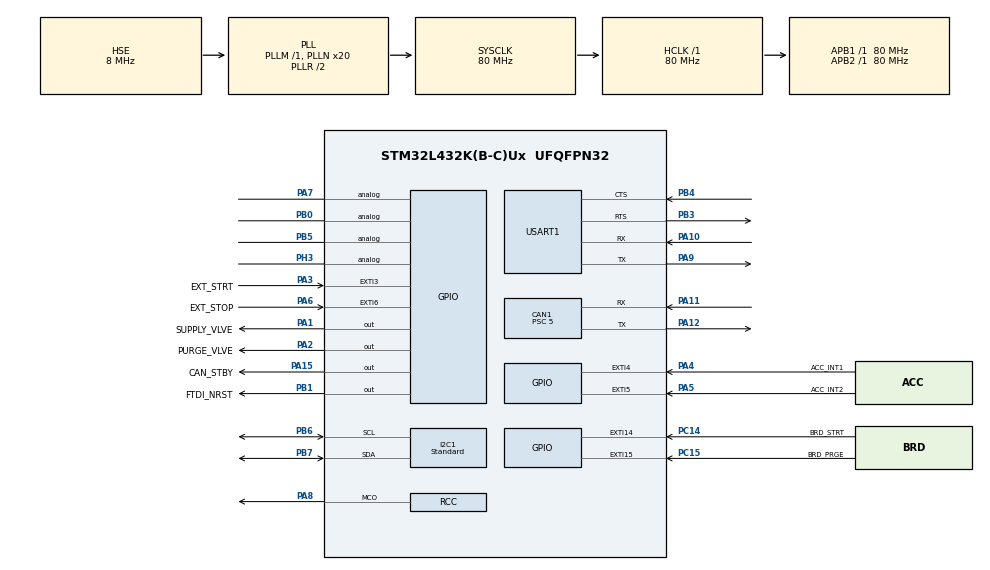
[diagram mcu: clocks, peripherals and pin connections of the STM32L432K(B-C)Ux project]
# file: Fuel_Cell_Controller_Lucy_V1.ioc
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CAN1.BS1=CAN_BS1_11TQ
CAN1.BS2=CAN_BS2_4TQ
CAN1.CalculateBaudRate=1000000
CAN1.CalculateTimeBit=1000
CAN1.CalculateTimeQuantum=62.5
CAN1.Mode=CAN_MODE_LOOPBACK
CAN1.Prescaler=5
Dma.Request0=USART1_RX
Dma.Request1=USART1_TX
Dma.USART1_RX.0.Direction=DMA_PERIPH_TO_MEMORY
Dma.USART1_RX.0.Instance=DMA1_Channel5
Dma.USART1_RX.0.MemDataAlignment=DMA_MDATAALIGN_BYTE
Dma.USART1_RX.0.MemInc=DMA_MINC_ENABLE
Dma.USART1_RX.0.Mode=DMA_CIRCULAR
Dma.USART1_RX.0.PeriphDataAlignment=DMA_PDATAALIGN_BYTE
Dma.USART1_RX.0.PeriphInc=DMA_PINC_DISABLE
Dma.USART1_RX.0.Priority=DMA_PRIORITY_LOW
Dma.USART1_TX.1.Direction=DMA_MEMORY_TO_PERIPH
Dma.USART1_TX.1.Instance=DMA1_Channel4
Dma.USART1_TX.1.MemDataAlignment=DMA_MDATAALIGN_BYTE
Dma.USART1_TX.1.MemInc=DMA_MINC_ENABLE
Dma.USART1_TX.1.Mode=DMA_NORMAL
Dma.USART1_TX.1.PeriphDataAlignment=DMA_PDATAALIGN_BYTE
Dma.USART1_TX.1.PeriphInc=DMA_PINC_DISABLE
Dma.USART1_TX.1.Priority=DMA_PRIORITY_LOW
FREERTOS.BinarySemaphores01=canMsgOkSem,Dynamic,NULL
FREERTOS.Queues01=canRxQueue,16,uint32_t,0,Dynamic,NULL,NULL
FREERTOS.Tasks01=CanTask,25,128,StartCanTask,Default,NULL,Static,CanTaskBuffer,CanTaskControlBlock;I2cTask,26,128,StartI2cTask,Default,NULL,Static,I2cTaskBuffer,I2cTaskControlBlock;FuelCellTask,27,128,StartFuelCellTask,Default,NULL,Static,FuelCellTaskBuffer,FuelCellTaskControlBlock
FREERTOS.configENABLE_FPU=1
FREERTOS.configUSE_NEWLIB_REENTRANT=1
I2C1.I2C_Speed_Mode=I2C_Standard
I2C1.Timing=0x10909CEC
Mcu.Family=STM32L4
Mcu.Name=STM32L432K(B-C)Ux
Mcu.Package=UFQFPN32
NVIC.CAN1_RX0_IRQn=true\:5\:0\:false\:false\:true\:true\:true\:true\:true
NVIC.CAN1_RX1_IRQn=true\:5\:0\:false\:false\:true\:true\:true\:true\:true
NVIC.CAN1_TX_IRQn=true\:5\:0\:false\:false\:true\:true\:true\:true\:true
NVIC.DMA1_Channel4_IRQn=true\:5\:0\:false\:false\:true\:true\:false\:true\:true
NVIC.DMA1_Channel5_IRQn=true\:5\:0\:false\:false\:true\:true\:false\:true\:true
NVIC.EXTI15_10_IRQn=true\:5\:0\:false\:false\:true\:true\:true\:true\:true
NVIC.EXTI3_IRQn=true\:5\:0\:false\:false\:true\:true\:true\:true\:true
NVIC.EXTI4_IRQn=true\:5\:0\:false\:false\:true\:true\:true\:true\:true
NVIC.EXTI9_5_IRQn=true\:5\:0\:false\:false\:true\:true\:true\:true\:true
NVIC.PriorityGroup=NVIC_PRIORITYGROUP_4
NVIC.TIM1_UP_TIM16_IRQn=true\:5\:0\:false\:false\:true\:false\:false\:true\:true
NVIC.TimeBase=TIM1_UP_TIM16_IRQn
NVIC.TimeBaseIP=TIM1
NVIC.USART1_IRQn=true\:5\:0\:false\:false\:true\:true\:true\:true\:true
PA0.Mode=HSE-External-Clock-Source-for-LittleOrca
PA0.Signal=RCC_CK_IN
PA1.GPIO_Label=SUPPLY_VLVE
PA1.GPIO_PuPd=GPIO_PULLDOWN
PA1.PinState=GPIO_PIN_RESET
PA1.Signal=GPIO_Output
PA10.Mode=Asynchronous
PA10.Signal=USART1_RX
PA11.GPIO_PuPd=GPIO_PULLUP
PA11.Mode=CAN_Activate
PA11.Signal=CAN1_RX
PA12.Mode=CAN_Activate
PA12.Signal=CAN1_TX
PA13\ (JTMS-SWDIO).Mode=Serial_Wire
PA13\ (JTMS-SWDIO).Signal=SYS_JTMS-SWDIO
PA14\ (JTCK-SWCLK).Mode=Serial_Wire
PA14\ (JTCK-SWCLK).Signal=SYS_JTCK-SWCLK
PA15\ (JTDI).GPIO_Label=CAN_STBY
PA15\ (JTDI).GPIO_PuPd=GPIO_PULLDOWN
PA15\ (JTDI).Signal=GPIO_Output
PA2.GPIO_Label=PURGE_VLVE
PA2.GPIO_PuPd=GPIO_PULLDOWN
PA2.Signal=GPIO_Output
PA3.GPIO_Label=EXT_STRT
PA3.GPIO_ModeDefaultEXTI=GPIO_MODE_IT_FALLING
PA3.GPIO_PuPd=GPIO_PULLUP
PA3.Signal=GPXTI3
PA4.GPIO_Label=ACC_INT1
PA4.GPIO_PuPd=GPIO_PULLDOWN
PA4.Signal=GPXTI4
PA5.GPIO_Label=ACC_INT2
PA5.GPIO_PuPd=GPIO_PULLDOWN
PA5.Signal=GPXTI5
PA6.GPIO_Label=EXT_STOP
PA6.GPIO_ModeDefaultEXTI=GPIO_MODE_IT_FALLING
PA6.GPIO_PuPd=GPIO_PULLUP
PA6.Signal=GPXTI6
PA7.Signal=GPIO_Analog
PA8.Mode=Clock-out
PA8.Signal=RCC_MCO
PA9.Mode=Asynchronous
PA9.Signal=USART1_TX
PB0.Signal=GPIO_Analog
PB1.GPIO_Label=FTDI_NRST
PB1.GPIO_PuPd=GPIO_PULLUP
PB1.Signal=GPIO_Output
PB3\ (JTDO-TRACESWO).Mode=CTS_RTS
PB3\ (JTDO-TRACESWO).Signal=USART1_RTS
PB4\ (NJTRST).Mode=CTS_RTS
PB4\ (NJTRST).Signal=USART1_CTS
PB5.Signal=GPIO_Analog
PB6.Mode=I2C
PB6.Signal=I2C1_SCL
PB7.Mode=I2C
PB7.Signal=I2C1_SDA
PC14-OSC32_IN\ (PC14).GPIO_Label=BRD_STRT
PC14-OSC32_IN\ (PC14).GPIO_ModeDefaultEXTI=GPIO_MODE_IT_FALLING
PC14-OSC32_IN\ (PC14).GPIO_PuPd=GPIO_PULLUP
PC14-OSC32_IN\ (PC14).Signal=GPXTI14
PC15-OSC32_OUT\ (PC15).GPIO_Label=BRD_PRGE
PC15-OSC32_OUT\ (PC15).GPIO_ModeDefaultEXTI=GPIO_MODE_IT_FALLING
PC15-OSC32_OUT\ (PC15).GPIO_PuPd=GPIO_PULLUP
PC15-OSC32_OUT\ (PC15).Signal=GPXTI15
PH3-BOOT0.Signal=GPIO_Analog
ProjectManager.HeapSize=0x200
ProjectManager.StackSize=0x400
ProjectManager.TargetToolchain=Makefile
RCC.ADCFreq_Value=32000000
RCC.AHBFreq_Value=80000000
RCC.APB1Freq_Value=80000000
RCC.APB1TimFreq_Value=80000000
RCC.APB2Freq_Value=80000000
RCC.APB2TimFreq_Value=80000000
RCC.CortexFreq_Value=80000000
RCC.HCLKFreq_Value=80000000
RCC.HSE_VALUE=8000000
RCC.HSI48_VALUE=48000000
RCC.HSI_VALUE=16000000
RCC.LSE_VALUE=32768
RCC.MSI_VALUE=4000000
RCC.PLLN=20
RCC.PLLSourceVirtual=RCC_PLLSOURCE_HSE
RCC.RCC_MCO1Source=RCC_MCO1SOURCE_HSE
RCC.RCC_MCODiv=RCC_MCODIV_8
RCC.SYSCLKFreq_VALUE=80000000
RCC.SYSCLKSource=RCC_SYSCLKSOURCE_PLLCLK
RCC.USBFreq_Value=32000000
RCC.VCOOutputFreq_Value=160000000
USART1.VirtualMode-Asynchronous=VM_ASYNC
VP_FREERTOS_VS_CMSIS_V2.Mode=CMSIS_V2
VP_SYS_VS_tim1.Mode=TIM1
board=custom

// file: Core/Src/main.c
/* USER CODE BEGIN Header */
/**
 ******************************************************************************
 * @file           : main.c
 * @brief          : Main program body
 ******************************************************************************
 * @attention
 *
 * Copyright (c) 2023 STMicroelectronics.
 * All rights reserved.
 *
 * This software is licensed under terms that can be found in the LICENSE file
 * in the root directory of this software component.
 * If no LICENSE file comes with this software, it is provided AS-IS.
 *
 ******************************************************************************
 */
/* USER CODE END Header */
#include "main.h"
#include "cmsis_os.h"

/* USER CODE BEGIN Includes */
#include "ADS1115.h"
#include "canid.h"
#include "cmsis_os2.h"
#include "stm32l4xx_hal.h"
#include "stm32l4xx_hal_can.h"
#include "stm32l4xx_hal_def.h"
#include "stm32l4xx_hal_gpio.h"
#include <math.h>
#include <stdint.h>
#include <stdio.h>
#include <string.h>
/* USER CODE END Includes */

typedef StaticTask_t osStaticThreadDef_t;
/* USER CODE BEGIN PTD */
#define ALL_RELAY_OFF 0x00
#define CHRGE_RELAY 0x01
#define RES_RELAY 0x02
#define DSCHRGE_RELAY 0x04
#define MTR_RELAY 0x08

typedef struct {
  uint32_t RELAY_STBY;
  uint32_t RELAY_STRTP;
  uint32_t RELAY_CHRGE;
  uint32_t RELAY_RUN;
} rbState_t;

typedef enum {
  FUEL_CELL_OFF_STATE = 0x00,
  FUEL_CELL_STRTUP_STATE = 0x01,
  FUEL_CELL_CHRGE_STATE = 0x02,
  FUEL_CELL_RUN_STATE = 0x04
} fcState_t;

typedef struct {
  uint8_t x, y, z;
} accData_t;

typedef struct {
  uint8_t purge_state, supply_state;
  float internal_stack_temp, internal_stack_pressure;
} fcData_t;

typedef struct {
  uint32_t H2_OK;
  float cap_voltage;
} canData_t;
/* USER CODE END PTD */

/* USER CODE BEGIN PD */
#define CAN_MESSAGE_SENT_TIMEOUT_MS 500
#define CAN_ADD_TX_TIMEOUT_MS 500

#define FULL_CAP_CHARGE_V 18
#define PURGE_PERIOD 180000 // 3 minutes
#define PURGE_TIME 500

#define CAN_TX_MAILBOX_NONE 0x00000000U // Remove reference to tx mailbox
/* USER CODE END PD */

CAN_HandleTypeDef hcan1;

I2C_HandleTypeDef hi2c1;

UART_HandleTypeDef huart1;
DMA_HandleTypeDef hdma_usart1_rx;
DMA_HandleTypeDef hdma_usart1_tx;

/* Definitions for CanTask */
osThreadId_t CanTaskHandle;
uint32_t CanTaskBuffer[128];
osStaticThreadDef_t CanTaskControlBlock;
const osThreadAttr_t CanTask_attributes = {
    .name = "CanTask",
    .cb_mem = &CanTaskControlBlock,
    .cb_size = sizeof(CanTaskControlBlock),
    .stack_mem = &CanTaskBuffer[0],
    .stack_size = sizeof(CanTaskBuffer),
    .priority = (osPriority_t)osPriorityNormal1,
};
/* Definitions for I2cTask */
osThreadId_t I2cTaskHandle;
uint32_t I2cTaskBuffer[128];
osStaticThreadDef_t I2cTaskControlBlock;
const osThreadAttr_t I2cTask_attributes = {
    .name = "I2cTask",
    .cb_mem = &I2cTaskControlBlock,
    .cb_size = sizeof(I2cTaskControlBlock),
    .stack_mem = &I2cTaskBuffer[0],
    .stack_size = sizeof(I2cTaskBuffer),
    .priority = (osPriority_t)osPriorityNormal2,
};
/* Definitions for FuelCellTask */
osThreadId_t FuelCellTaskHandle;
uint32_t FuelCellTaskBuffer[128];
osStaticThreadDef_t FuelCellTaskControlBlock;
const osThreadAttr_t FuelCellTask_attributes = {
    .name = "FuelCellTask",
    .cb_mem = &FuelCellTaskControlBlock,
    .cb_size = sizeof(FuelCellTaskControlBlock),
    .stack_mem = &FuelCellTaskBuffer[0],
    .stack_size = sizeof(FuelCellTaskBuffer),
    .priority = (osPriority_t)osPriorityNormal3,
};
/* Definitions for canRxQueue */
osMessageQueueId_t canRxQueueHandle;
const osMessageQueueAttr_t canRxQueue_attributes = {.name = "canRxQueue"};
/* Definitions for canMsgOkSem */
osSemaphoreId_t canMsgOkSemHandle;
const osSemaphoreAttr_t canMsgOkSem_attributes = {.name = "canMsgOkSem"};
/* USER CODE BEGIN PV */
/* Definitions for PurgeTask */
osThreadId_t PurgeTaskHandle;
uint32_t PurgeTaskBuffer[128];
osStaticThreadDef_t PurgeTaskControlBlock;
const osThreadAttr_t PurgeTask_attributes = {
    .name = "PurgeTask",
    .cb_mem = &PurgeTaskControlBlock,
    .cb_size = sizeof(PurgeTaskControlBlock),
    .stack_mem = &PurgeTaskBuffer[0],
    .stack_size = sizeof(PurgeTaskBuffer),
    .priority = (osPriority_t)osPriorityAboveNormal1,
};

osSemaphoreId_t relayUpdateConfirmedHandle;
const osSemaphoreAttr_t relayUpdateConfirmed_attributes = {
    .name = "relayUpdateConfirmed"};

osSemaphoreId_t purgeSemHandle;
const osSemaphoreAttr_t purgeSemHandle_attributes = {.name = "purgeSem"};

rbState_t rb_state = {
    ALL_RELAY_OFF,
    RES_RELAY | DSCHRGE_RELAY,
    RES_RELAY,
    CHRGE_RELAY | DSCHRGE_RELAY | MTR_RELAY,
};

fcState_t fc_state = FUEL_CELL_OFF_STATE;

// Initialize the struct values to zero
canData_t canData = {0, 0.00F};
fcData_t fcData = {0, 0, 0.00F, 0.00F};

CAN_RxHeaderTypeDef RxHeader;
uint8_t RxData[8];

uint32_t TxMailboxFuelCellTask;

uint8_t RxUARTbuff;
uint8_t RxUARTData[32];
uint8_t UartIndex = 0;

uint32_t button_debounce[4];
/* USER CODE END PV */

void SystemClock_Config(void);
static void MX_GPIO_Init(void);
static void MX_DMA_Init(void);
static void MX_CAN1_Init(void);
static void MX_I2C1_Init(void);
static void MX_USART1_UART_Init(void);
void StartCanTask(void *argument);
void StartI2cTask(void *argument);
void StartFuelCellTask(void *argument);
void RunPurgeTask(void *argument);

/* USER CODE BEGIN PFP */
int _write(int file, char *ptr, int len) {
  HAL_UART_Transmit(&huart1, (uint8_t *)ptr, len, HAL_MAX_DELAY);
  return len;
}

void HAL_CAN_RxFifo0MsgPendingCallback(CAN_HandleTypeDef *hcan) {
  HAL_CAN_GetRxMessage(hcan, CAN_RX_FIFO0, &RxHeader, RxData);
  osMessageQueuePut(canRxQueueHandle, &RxHeader.StdId, 0U, 0UL);
  // need condition for either 4 byte or 8 byte
  if (RxHeader.DLC == 0UL) {
    // Data request, don't add anything else to queue
  } else if (RxHeader.DLC <= 4UL) {
    osMessageQueuePut(canRxQueueHandle, RxData, 0U, 0UL);
  } else {
    osMessageQueuePut(canRxQueueHandle, RxData, 0U, 0UL);
    osMessageQueuePut(canRxQueueHandle, &RxData[3], 0U, 0UL);
  }
}

void HAL_CAN_RxFifo1MsgPendingCallback(CAN_HandleTypeDef *hcan) {
  HAL_CAN_GetRxMessage(hcan, CAN_RX_FIFO1, &RxHeader, RxData);
  osMessageQueuePut(canRxQueueHandle, &RxHeader.StdId, 0U, 0UL);
  // need condition for either 4 byte or 8 byte
  if (RxHeader.DLC == 0UL) {
    // Data request, don't add anything else to queue
  } else if (RxHeader.DLC <= 4UL) {
    osMessageQueuePut(canRxQueueHandle, RxData, 0U, 0UL);
  } else {
    osMessageQueuePut(canRxQueueHandle, RxData, 0U, 0UL);
    osMessageQueuePut(canRxQueueHandle, &RxData[3], 0U, 0UL);
  }
}

/* Transmit Completed Callbacks for Message Sent Confirmations */
void HAL_CAN_TxMailbox0CompleteCallback(CAN_HandleTypeDef *hcan) {
  if (TxMailboxFuelCellTask == CAN_TX_MAILBOX0) {
    TxMailboxFuelCellTask = CAN_TX_MAILBOX_NONE;
    osSemaphoreRelease(canMsgOkSemHandle);
  }
}
void HAL_CAN_TxMailbox1CompleteCallback(CAN_HandleTypeDef *hcan) {
  if (TxMailboxFuelCellTask == CAN_TX_MAILBOX1) {
    TxMailboxFuelCellTask = CAN_TX_MAILBOX_NONE;
    osSemaphoreRelease(canMsgOkSemHandle);
  }
}
void HAL_CAN_TxMailbox2CompleteCallback(CAN_HandleTypeDef *hcan) {
  if (TxMailboxFuelCellTask == CAN_TX_MAILBOX2) {
    TxMailboxFuelCellTask = CAN_TX_MAILBOX_NONE;
    osSemaphoreRelease(canMsgOkSemHandle);
  }
}

void HAL_UART_RxCpltCallback(UART_HandleTypeDef *huart) {
  if (RxUARTbuff == (char)0x04) {
    HAL_UART_Transmit_DMA(huart, RxUARTData, UartIndex);
    UartIndex = 0;
  } else {
    RxUARTData[UartIndex] = RxUARTbuff;
    if (UartIndex == (sizeof(RxUARTData) - 1)) {
      printf("\r\n\tBuffer Overflowed\r\n");
      UartIndex = 0;
    } else {
      UartIndex++;
    }
  }
  HAL_UART_Receive_DMA(huart, &RxUARTbuff, 1U);
}

uint32_t lockout_parameter = 0;

void HAL_GPIO_EXTI_Callback(uint16_t GPIO_Pin) {
  switch (GPIO_Pin) {
  case BRD_STRT_Pin:
    if (HAL_GetTick() - button_debounce[0] > 1000) {
      printf("Start button pressed\r\n");
      if (fc_state & (FUEL_CELL_STRTUP_STATE | FUEL_CELL_CHRGE_STATE |
                      FUEL_CELL_RUN_STATE)) // If fc_state is non-zero
      {
        button_debounce[0] = HAL_GetTick();
        fc_state = FUEL_CELL_OFF_STATE;
      } else {
        button_debounce[0] = HAL_GetTick();
        if (lockout_parameter == 0) {
          fc_state = FUEL_CELL_STRTUP_STATE;
        }
      }
    }
    break;
  case BRD_PRGE_Pin:
    if (HAL_GetTick() - button_debounce[1] > 1000) {
      printf("Purge button pressed\r\n");
      button_debounce[1] = HAL_GetTick();
      osSemaphoreRelease(purgeSemHandle);
    }
    break;
  case EXT_STRT_Pin:
    if (HAL_GetTick() - button_debounce[2] > 1000) {
      if (fc_state & (FUEL_CELL_STRTUP_STATE | FUEL_CELL_CHRGE_STATE |
                      FUEL_CELL_RUN_STATE)) {
        button_debounce[2] = HAL_GetTick();
        fc_state = FUEL_CELL_OFF_STATE;
      } else {
        button_debounce[2] = HAL_GetTick();
        if (lockout_parameter == 0) {
          fc_state = FUEL_CELL_STRTUP_STATE;
        }
      }
    }
    break;
  case ACC_INT1_Pin:
    /* Do something */
    break;
  case ACC_INT2_Pin:
    /* Do something */
    break;
  case EXT_STOP_Pin:
    if (HAL_GetTick() - button_debounce[3] > 1000) {
      button_debounce[3] = HAL_GetTick();
      printf("Shell Ext Stop triggered, reset system to resume operation\r\n");
      fc_state = FUEL_CELL_OFF_STATE;
      lockout_parameter = 1;
    }
    break;
  default:
    /* Should never happen */
    break;
  }
}

HAL_StatusTypeDef HAL_CAN_SafeAddTxMessage(uint8_t *msg, uint32_t msg_id,
                                           uint32_t msg_length,
                                           uint32_t *TxMailbox, uint32_t rtr) {
  uint32_t fc_tick;
  HAL_StatusTypeDef hal_stat;
  CAN_TxHeaderTypeDef TxHeader;

  // These will never change
  TxHeader.IDE = CAN_ID_STD;
  TxHeader.ExtId = 0;
  TxHeader.TransmitGlobalTime = DISABLE;

  // User will give us this information
  TxHeader.RTR = rtr;
  TxHeader.StdId = msg_id;
  TxHeader.DLC = msg_length;

  // Start a timer to check timeout conditions
  fc_tick = HAL_GetTick();

  /* Try to add a Tx message. Returns HAL_ERROR if there are no avail
   * mailboxes or if the peripheral is not initialized. */
  do {
    hal_stat = HAL_CAN_AddTxMessage(&hcan1, &TxHeader, msg, TxMailbox);
  } while (hal_stat != HAL_OK &&
           (HAL_GetTick() - fc_tick < CAN_ADD_TX_TIMEOUT_MS));

  return hal_stat;
}
/* USER CODE END PFP */

/* USER CODE BEGIN 0 */
ADS1115_Config_t configReg;
ADS1115_Handle_t *pADS;

#define ADS1115_ADR1 0x48
#define ADS1115_ADR2 0x49
/* USER CODE END 0 */

int main(void) {

  /* MCU Configuration--------------------------------------------------------*/

  /* Reset of all peripherals, Initializes the Flash interface and the Systick.
   */
  HAL_Init();

  /* Configure the system clock */
  SystemClock_Config();

  /* Initialize all configured peripherals */
  MX_GPIO_Init();
  MX_DMA_Init();
  MX_CAN1_Init();
  MX_I2C1_Init();
  MX_USART1_UART_Init();
  /* USER CODE BEGIN 2 */
  HAL_CAN_Start(&hcan1);
  HAL_CAN_ActivateNotification(&hcan1, CAN_IT_RX_FIFO0_MSG_PENDING);
  HAL_CAN_ActivateNotification(&hcan1, CAN_IT_RX_FIFO1_MSG_PENDING);
  HAL_CAN_ActivateNotification(&hcan1, CAN_IT_TX_MAILBOX_EMPTY);

  button_debounce[0] = button_debounce[1] = button_debounce[2] =
      button_debounce[3] = HAL_GetTick();
  HAL_GPIO_WritePin(FTDI_NRST_GPIO_Port, FTDI_NRST_Pin, GPIO_PIN_SET);

  HAL_UART_Receive_DMA(&huart1, &RxUARTbuff, 1U);

  // Set up config parameters for ADS1115 chip before sending
  configReg.channel = CHANNEL_AIN0_GND;
  configReg.pgaConfig = PGA_4_096;
  configReg.operatingMode = MODE_CONTINOUS;
  configReg.dataRate = DRATE_128;
  configReg.compareMode = COMP_HYSTERESIS;
  configReg.polarityMode = POLARITY_ACTIVE_LOW;
  configReg.latchingMode = LATCHING_NONE;
  configReg.queueComparator = QUEUE_ONE;

  // NOTE: This init function uses malloc and must be called before the
  // scheduler
  pADS = ADS1115_init(&hi2c1, (uint16_t)ADS1115_ADR1, configReg);
  ADS1115_updateConfig(pADS, configReg);
  ADS1115_setConversionReadyPin(pADS);
  /* USER CODE END 2 */

  /* Init scheduler */
  osKernelInitialize();

  /* Create the semaphores(s) */
  /* creation of canMsgOkSem */
  canMsgOkSemHandle = osSemaphoreNew(1, 0, &canMsgOkSem_attributes);

  /* USER CODE BEGIN RTOS_SEMAPHORES */
  relayUpdateConfirmedHandle =
      osSemaphoreNew(1, 0, &relayUpdateConfirmed_attributes);
  purgeSemHandle = osSemaphoreNew(1, 0, &purgeSemHandle_attributes);
  /* add semaphores, ... */
  /* USER CODE END RTOS_SEMAPHORES */

  /* Create the queue(s) */
  /* creation of canRxQueue */
  canRxQueueHandle =
      osMessageQueueNew(16, sizeof(uint32_t), &canRxQueue_attributes);

  /* Create the thread(s) */
  /* creation of CanTask */
  CanTaskHandle = osThreadNew(StartCanTask, NULL, &CanTask_attributes);

  /* creation of I2cTask */
  I2cTaskHandle = osThreadNew(StartI2cTask, NULL, &I2cTask_attributes);

  /* creation of FuelCellTask */
  FuelCellTaskHandle =
      osThreadNew(StartFuelCellTask, NULL, &FuelCellTask_attributes);

  PurgeTaskHandle = osThreadNew(RunPurgeTask, NULL, &PurgeTask_attributes);

  if (CanTaskHandle == NULL || I2cTaskHandle == NULL ||
      FuelCellTaskHandle == NULL || PurgeTaskHandle == NULL) {
    Error_Handler();
  }

  /* Start scheduler */
  osKernelStart();

  /* We should never get here as control is now taken by the scheduler */
  /* Infinite loop */
  while (1) {

  }
}

void SystemClock_Config(void) {
  RCC_OscInitTypeDef RCC_OscInitStruct = {0};
  RCC_ClkInitTypeDef RCC_ClkInitStruct = {0};

  /** Configure the main internal regulator output voltage
   */
  if (HAL_PWREx_ControlVoltageScaling(PWR_REGULATOR_VOLTAGE_SCALE1) != HAL_OK) {
    Error_Handler();
  }

  /** Initializes the RCC Oscillators according to the specified parameters
   * in the RCC_OscInitTypeDef structure.
   */
  RCC_OscInitStruct.OscillatorType = RCC_OSCILLATORTYPE_HSE;
  RCC_OscInitStruct.HSEState = RCC_HSE_BYPASS;
  RCC_OscInitStruct.PLL.PLLState = RCC_PLL_ON;
  RCC_OscInitStruct.PLL.PLLSource = RCC_PLLSOURCE_HSE;
  RCC_OscInitStruct.PLL.PLLM = 1;
  RCC_OscInitStruct.PLL.PLLN = 20;
  RCC_OscInitStruct.PLL.PLLP = RCC_PLLP_DIV7;
  RCC_OscInitStruct.PLL.PLLQ = RCC_PLLQ_DIV2;
  RCC_OscInitStruct.PLL.PLLR = RCC_PLLR_DIV2;
  if (HAL_RCC_OscConfig(&RCC_OscInitStruct) != HAL_OK) {
    Error_Handler();
  }

  /** Initializes the CPU, AHB and APB buses clocks
   */
  RCC_ClkInitStruct.ClockType = RCC_CLOCKTYPE_HCLK | RCC_CLOCKTYPE_SYSCLK |
                                RCC_CLOCKTYPE_PCLK1 | RCC_CLOCKTYPE_PCLK2;
  RCC_ClkInitStruct.SYSCLKSource = RCC_SYSCLKSOURCE_PLLCLK;
  RCC_ClkInitStruct.AHBCLKDivider = RCC_SYSCLK_DIV1;
  RCC_ClkInitStruct.APB1CLKDivider = RCC_HCLK_DIV1;
  RCC_ClkInitStruct.APB2CLKDivider = RCC_HCLK_DIV1;

  if (HAL_RCC_ClockConfig(&RCC_ClkInitStruct, FLASH_LATENCY_4) != HAL_OK) {
    Error_Handler();
  }
  HAL_RCC_MCOConfig(RCC_MCO1, RCC_MCO1SOURCE_HSE, RCC_MCODIV_8);
}

static void MX_CAN1_Init(void) {

  hcan1.Instance = CAN1;
  hcan1.Init.Prescaler = 5;
  hcan1.Init.Mode = CAN_MODE_NORMAL;
  hcan1.Init.SyncJumpWidth = CAN_SJW_1TQ;
  hcan1.Init.TimeSeg1 = CAN_BS1_11TQ;
  hcan1.Init.TimeSeg2 = CAN_BS2_4TQ;
  hcan1.Init.TimeTriggeredMode = DISABLE;
  hcan1.Init.AutoBusOff = DISABLE;
  hcan1.Init.AutoWakeUp = DISABLE;
  hcan1.Init.AutoRetransmission = DISABLE;
  hcan1.Init.ReceiveFifoLocked = DISABLE;
  hcan1.Init.TransmitFifoPriority = DISABLE;
  if (HAL_CAN_Init(&hcan1) != HAL_OK) {
    Error_Handler();
  }
  /* USER CODE BEGIN CAN1_Init 2 */
  CAN_FilterTypeDef sf;
  // Accept StdID's 0x100 through 0x1FF
  sf.FilterIdHigh = 0x100 << 5;
  sf.FilterMaskIdHigh = 0x700 << 5;
  sf.FilterIdLow = 0x0000;
  sf.FilterMaskIdLow = 0x0000;
  sf.FilterFIFOAssignment = CAN_FILTER_FIFO0;
  sf.FilterBank = 0;
  sf.FilterMode = CAN_FILTERMODE_IDMASK;
  sf.FilterScale = CAN_FILTERSCALE_32BIT;
  sf.FilterActivation = CAN_FILTER_ENABLE;
  if (HAL_CAN_ConfigFilter(&hcan1, &sf) != HAL_OK) {
    Error_Handler();
  }
  /* USER CODE END CAN1_Init 2 */
}

static void MX_I2C1_Init(void) {

  hi2c1.Instance = I2C1;
  hi2c1.Init.Timing = 0x10909CEC;
  hi2c1.Init.OwnAddress1 = 0;
  hi2c1.Init.AddressingMode = I2C_ADDRESSINGMODE_7BIT;
  hi2c1.Init.DualAddressMode = I2C_DUALADDRESS_DISABLE;
  hi2c1.Init.OwnAddress2 = 0;
  hi2c1.Init.OwnAddress2Masks = I2C_OA2_NOMASK;
  hi2c1.Init.GeneralCallMode = I2C_GENERALCALL_DISABLE;
  hi2c1.Init.NoStretchMode = I2C_NOSTRETCH_DISABLE;
  if (HAL_I2C_Init(&hi2c1) != HAL_OK) {
    Error_Handler();
  }

  /** Configure Analogue filter
   */
  if (HAL_I2CEx_ConfigAnalogFilter(&hi2c1, I2C_ANALOGFILTER_ENABLE) != HAL_OK) {
    Error_Handler();
  }

  /** Configure Digital filter
   */
  if (HAL_I2CEx_ConfigDigitalFilter(&hi2c1, 0) != HAL_OK) {
    Error_Handler();
  }
}

static void MX_USART1_UART_Init(void) {

  huart1.Instance = USART1;
  huart1.Init.BaudRate = 115200;
  huart1.Init.WordLength = UART_WORDLENGTH_8B;
  huart1.Init.StopBits = UART_STOPBITS_1;
  huart1.Init.Parity = UART_PARITY_NONE;
  huart1.Init.Mode = UART_MODE_TX_RX;
  huart1.Init.HwFlowCtl = UART_HWCONTROL_RTS_CTS;
  huart1.Init.OverSampling = UART_OVERSAMPLING_16;
  huart1.Init.OneBitSampling = UART_ONE_BIT_SAMPLE_DISABLE;
  huart1.AdvancedInit.AdvFeatureInit = UART_ADVFEATURE_NO_INIT;
  if (HAL_UART_Init(&huart1) != HAL_OK) {
    Error_Handler();
  }
}

static void MX_DMA_Init(void) {

  /* DMA controller clock enable */
  __HAL_RCC_DMA1_CLK_ENABLE();

  /* DMA interrupt init */
  /* DMA1_Channel4_IRQn interrupt configuration */
  HAL_NVIC_SetPriority(DMA1_Channel4_IRQn, 5, 0);
  HAL_NVIC_EnableIRQ(DMA1_Channel4_IRQn);
  /* DMA1_Channel5_IRQn interrupt configuration */
  HAL_NVIC_SetPriority(DMA1_Channel5_IRQn, 5, 0);
  HAL_NVIC_EnableIRQ(DMA1_Channel5_IRQn);
}

static void MX_GPIO_Init(void) {
  GPIO_InitTypeDef GPIO_InitStruct = {0};

  /* GPIO Ports Clock Enable */
  __HAL_RCC_GPIOC_CLK_ENABLE();
  __HAL_RCC_GPIOA_CLK_ENABLE();
  __HAL_RCC_GPIOB_CLK_ENABLE();
  __HAL_RCC_GPIOH_CLK_ENABLE();

  /*Configure GPIO pin Output Level */
  HAL_GPIO_WritePin(GPIOA, SUPPLY_VLVE_Pin | PURGE_VLVE_Pin | CAN_STBY_Pin,
                    GPIO_PIN_RESET);

  /*Configure GPIO pin Output Level */
  HAL_GPIO_WritePin(FTDI_NRST_GPIO_Port, FTDI_NRST_Pin, GPIO_PIN_RESET);

  /*Configure GPIO pins : BRD_STRT_Pin BRD_PRGE_Pin */
  GPIO_InitStruct.Pin = BRD_STRT_Pin | BRD_PRGE_Pin;
  GPIO_InitStruct.Mode = GPIO_MODE_IT_FALLING;
  GPIO_InitStruct.Pull = GPIO_PULLUP;
  HAL_GPIO_Init(GPIOC, &GPIO_InitStruct);

  /*Configure GPIO pins : SUPPLY_VLVE_Pin PURGE_VLVE_Pin CAN_STBY_Pin */
  GPIO_InitStruct.Pin = SUPPLY_VLVE_Pin | PURGE_VLVE_Pin | CAN_STBY_Pin;
  GPIO_InitStruct.Mode = GPIO_MODE_OUTPUT_PP;
  GPIO_InitStruct.Pull = GPIO_PULLDOWN;
  GPIO_InitStruct.Speed = GPIO_SPEED_FREQ_LOW;
  HAL_GPIO_Init(GPIOA, &GPIO_InitStruct);

  /*Configure GPIO pins : EXT_STRT_Pin EXT_STOP_Pin */
  GPIO_InitStruct.Pin = EXT_STRT_Pin | EXT_STOP_Pin;
  GPIO_InitStruct.Mode = GPIO_MODE_IT_FALLING;
  GPIO_InitStruct.Pull = GPIO_PULLUP;
  HAL_GPIO_Init(GPIOA, &GPIO_InitStruct);

  /*Configure GPIO pins : ACC_INT1_Pin ACC_INT2_Pin */
  GPIO_InitStruct.Pin = ACC_INT1_Pin | ACC_INT2_Pin;
  GPIO_InitStruct.Mode = GPIO_MODE_IT_RISING;
  GPIO_InitStruct.Pull = GPIO_PULLDOWN;
  HAL_GPIO_Init(GPIOA, &GPIO_InitStruct);

  /*Configure GPIO pin : PA7 */
  GPIO_InitStruct.Pin = GPIO_PIN_7;
  GPIO_InitStruct.Mode = GPIO_MODE_ANALOG;
  GPIO_InitStruct.Pull = GPIO_NOPULL;
  HAL_GPIO_Init(GPIOA, &GPIO_InitStruct);

  /*Configure GPIO pins : PB0 PB5 */
  GPIO_InitStruct.Pin = GPIO_PIN_0 | GPIO_PIN_5;
  GPIO_InitStruct.Mode = GPIO_MODE_ANALOG;
  GPIO_InitStruct.Pull = GPIO_NOPULL;
  HAL_GPIO_Init(GPIOB, &GPIO_InitStruct);

  /*Configure GPIO pin : FTDI_NRST_Pin */
  GPIO_InitStruct.Pin = FTDI_NRST_Pin;
  GPIO_InitStruct.Mode = GPIO_MODE_OUTPUT_PP;
  GPIO_InitStruct.Pull = GPIO_PULLUP;
  GPIO_InitStruct.Speed = GPIO_SPEED_FREQ_LOW;
  HAL_GPIO_Init(FTDI_NRST_GPIO_Port, &GPIO_InitStruct);

  /*Configure GPIO pin : PA8 */
  GPIO_InitStruct.Pin = GPIO_PIN_8;
  GPIO_InitStruct.Mode = GPIO_MODE_AF_PP;
  GPIO_InitStruct.Pull = GPIO_NOPULL;
  GPIO_InitStruct.Speed = GPIO_SPEED_FREQ_LOW;
  GPIO_InitStruct.Alternate = GPIO_AF0_MCO;
  HAL_GPIO_Init(GPIOA, &GPIO_InitStruct);

  /*Configure GPIO pin : PH3 */
  GPIO_InitStruct.Pin = GPIO_PIN_3;
  GPIO_InitStruct.Mode = GPIO_MODE_ANALOG;
  GPIO_InitStruct.Pull = GPIO_NOPULL;
  HAL_GPIO_Init(GPIOH, &GPIO_InitStruct);

  /* EXTI interrupt init*/
  HAL_NVIC_SetPriority(EXTI3_IRQn, 5, 0);
  HAL_NVIC_EnableIRQ(EXTI3_IRQn);

  HAL_NVIC_SetPriority(EXTI4_IRQn, 5, 0);
  HAL_NVIC_EnableIRQ(EXTI4_IRQn);

  HAL_NVIC_SetPriority(EXTI9_5_IRQn, 5, 0);
  HAL_NVIC_EnableIRQ(EXTI9_5_IRQn);

  HAL_NVIC_SetPriority(EXTI15_10_IRQn, 5, 0);
  HAL_NVIC_EnableIRQ(EXTI15_10_IRQn);

}

void StartCanTask(void *argument) {
/* USER CODE BEGIN 5 */
#define RELAY_CONFIG_CONFIRMED 1
  /* Infinite loop */
  uint32_t queueData;
  for (;;) {
    if (osMessageQueueGet(canRxQueueHandle, &queueData, 0U, osWaitForever) ==
        osOK) {
      switch (queueData) {
      case REQUEST_FOR_CAP_VOLTAGE:
        osMessageQueueGet(canRxQueueHandle, &queueData, 0U, 10UL);
        memcpy(&canData.cap_voltage, &queueData, sizeof(uint32_t));
        break;
      case RELAY_CONFIGURATION_ID: // This is a placeholder
        osMessageQueueGet(canRxQueueHandle, &queueData, 0U, 10UL);
        if (queueData == RELAY_CONFIG_CONFIRMED) {
          osSemaphoreRelease(relayUpdateConfirmedHandle);
        }
        break;
      case REQUEST_H2_CONC:
        osMessageQueueGet(canRxQueueHandle, &queueData, 0U, 10UL);
        memcpy(&canData.H2_OK, &queueData, sizeof(uint32_t));
        break;
      default:
        break;
      }
    }
    osDelay(10);
  }
  /* USER CODE END 5 */
}

void StartI2cTask(void *argument) {
  /* USER CODE BEGIN StartI2cTask */
#define DELAY_FOR_CHANNEL_SWITCH 20
#define B 3950
#define VOLT_2_TEMP(x)                                                         \
  B * 298.15 / (298.15 * logf(100 / (100 * (3.3 / x - 1))) + B) - 273.15

  const float VOLT_CONVERSION = 4.094F / 32768.0F;
  const float transfer_func_p = 0.657F;
  /* Infinite loop */

  // Init stack variables
  fcData.internal_stack_temp = 0;
  fcData.internal_stack_pressure = 0;

  for (;;) {
    configReg.channel = CHANNEL_AIN0_GND;
    ADS1115_updateConfig(pADS, configReg);
    osDelay(DELAY_FOR_CHANNEL_SWITCH);
    fcData.internal_stack_temp = ADS1115_getData(pADS) * VOLT_CONVERSION;
    fcData.internal_stack_temp = VOLT_2_TEMP(fcData.internal_stack_temp);

    configReg.channel = CHANNEL_AIN1_GND;
    ADS1115_updateConfig(pADS, configReg);
    osDelay(DELAY_FOR_CHANNEL_SWITCH);
    fcData.internal_stack_pressure =
        ADS1115_getData(pADS) * VOLT_CONVERSION / transfer_func_p;

    osDelay(10);
  }
  /* USER CODE END StartI2cTask */
}

void StartFuelCellTask(void *argument) {
  /* USER CODE BEGIN StartFuelCellTask */
  enum { STBY, STRTP, CHRGE, RUN };

  HAL_StatusTypeDef hal_stat;
  uint8_t relay_config_set[4] = {0, 0, 0, 0};
  uint32_t purge_timer = HAL_GetTick();

  /* Infinite loop */
  for (;;) {
    switch (fc_state) {
    case FUEL_CELL_OFF_STATE:
      // Ensure flags for other configs are not set
      relay_config_set[STRTP] = relay_config_set[CHRGE] =
          relay_config_set[RUN] = 0;

      // Set valves to both off
      HAL_GPIO_WritePin(PURGE_VLVE_GPIO_Port, PURGE_VLVE_Pin, GPIO_PIN_RESET);
      HAL_GPIO_WritePin(SUPPLY_VLVE_GPIO_Port, SUPPLY_VLVE_Pin, GPIO_PIN_RESET);

      hal_stat = HAL_CAN_SafeAddTxMessage(NULL, (uint32_t)REQUEST_H2_CONC, 0UL,
                                          &TxMailboxFuelCellTask,
                                          (uint32_t)CAN_RTR_REMOTE);

      // If the relay board hasn't confirmed the stby configuration
      if (relay_config_set[STBY] == 0) {
        hal_stat = HAL_CAN_SafeAddTxMessage(
            (uint8_t *)&rb_state.RELAY_STBY, (uint32_t)RELAY_CONFIGURATION_ID,
            4UL, &TxMailboxFuelCellTask, (uint32_t)CAN_RTR_DATA);
        if (hal_stat == HAL_OK) {
          // Wait up to 5 seconds to get the configuration confirmation
          if (osSemaphoreAcquire(relayUpdateConfirmedHandle,
                                 CAN_MESSAGE_SENT_TIMEOUT_MS) == osOK) {
            printf("Relay board confirmed updated config\r\n");
            relay_config_set[STBY] = 1;
          } else {
            printf("Relay board did not confirm updated config\r\n");
            relay_config_set[STBY] = 0;
          }
        }
      }

      printf("Pressure: %0.4f\r\nTemperature: %0.4f\r\n",
             fcData.internal_stack_pressure, fcData.internal_stack_temp);

      break;
    case FUEL_CELL_STRTUP_STATE:
      // Ensure flags for other configs are not set
      relay_config_set[STBY] = relay_config_set[CHRGE] = relay_config_set[RUN] =
          0;
      if (relay_config_set[STRTP] == 0) {
        hal_stat = HAL_CAN_SafeAddTxMessage(
            (uint8_t *)&rb_state.RELAY_STRTP, (uint32_t)RELAY_CONFIGURATION_ID,
            4UL, &TxMailboxFuelCellTask, (uint32_t)CAN_RTR_DATA);
        if (hal_stat == HAL_OK) {
          // Wait up to 5 seconds to get the configuration confirmation
          if (osSemaphoreAcquire(relayUpdateConfirmedHandle,
                                 CAN_MESSAGE_SENT_TIMEOUT_MS) == osOK) {
            printf("Relay board confirmed update config\r\n");

            // Start the hydrogen supply and purge for 500 ms
            HAL_GPIO_WritePin(SUPPLY_VLVE_GPIO_Port, SUPPLY_VLVE_Pin,
                              GPIO_PIN_SET);
            HAL_GPIO_WritePin(PURGE_VLVE_GPIO_Port, PURGE_VLVE_Pin,
                              GPIO_PIN_SET);
            osDelay(PURGE_TIME);
            HAL_GPIO_WritePin(PURGE_VLVE_GPIO_Port, PURGE_VLVE_Pin,
                              GPIO_PIN_RESET);

            fc_state = FUEL_CELL_CHRGE_STATE;
            relay_config_set[STRTP] = 1;

          } else {
            printf("Relay board did not confirm updated config\r\n");
            relay_config_set[STRTP] = 0;
          }
        }
      }
      break;
    case FUEL_CELL_CHRGE_STATE:
      relay_config_set[STBY] = relay_config_set[STRTP] = relay_config_set[RUN] =
          0;
      if (relay_config_set[CHRGE] == 0) {
        hal_stat = HAL_CAN_SafeAddTxMessage(
            (uint8_t *)&rb_state.RELAY_CHRGE, (uint32_t)RELAY_CONFIGURATION_ID,
            4UL, &TxMailboxFuelCellTask, (uint32_t)CAN_RTR_DATA);
        if (hal_stat == HAL_OK) {
          if (osSemaphoreAcquire(relayUpdateConfirmedHandle,
                                 CAN_MESSAGE_SENT_TIMEOUT_MS) == osOK) {
            printf("Relay board confirmed update config\r\n");
            relay_config_set[CHRGE] = 1;
          } else {
            printf("Relay board did not confirm updated config\r\n");
            relay_config_set[CHRGE] = 0;
          }
        }
      } else {
        if (canData.cap_voltage >= FULL_CAP_CHARGE_V) {
          fc_state = FUEL_CELL_RUN_STATE;
        } else {
          // keep requesting new cap voltages
          hal_stat = HAL_CAN_SafeAddTxMessage(
              NULL, (uint32_t)REQUEST_FOR_CAP_VOLTAGE, 0UL,
              &TxMailboxFuelCellTask, (uint32_t)CAN_RTR_REMOTE);
        }
      }
      break;
    case FUEL_CELL_RUN_STATE:
      relay_config_set[STBY] = relay_config_set[STRTP] =
          relay_config_set[CHRGE] = 0;
      if (relay_config_set[RUN] == 0) {
        hal_stat = HAL_CAN_SafeAddTxMessage(
            (uint8_t *)&rb_state.RELAY_RUN, (uint32_t)RELAY_CONFIGURATION_ID,
            4UL, &TxMailboxFuelCellTask, (uint32_t)CAN_RTR_DATA);
        if (hal_stat == HAL_OK) {
          if (osSemaphoreAcquire(relayUpdateConfirmedHandle,
                                 CAN_MESSAGE_SENT_TIMEOUT_MS) == osOK) {
            printf("Relay board confirmed update config\r\n");
            relay_config_set[RUN] = 1;
          } else {
            printf("Relay board did not confirm updated config\r\n");
            relay_config_set[RUN] = 0;
          }
        }
      } else {
        if (HAL_GetTick() - purge_timer >= PURGE_PERIOD) {
          purge_timer = HAL_GetTick();
          osSemaphoreRelease(purgeSemHandle);
        }
      }
      break;
    }
    osDelay(10);
  }
  /* USER CODE END StartFuelCellTask */
}

void RunPurgeTask(void *argument) {
  for (;;) {
    if (osOK == osSemaphoreAcquire(purgeSemHandle, osWaitForever)) {
      HAL_GPIO_WritePin(PURGE_VLVE_GPIO_Port, PURGE_VLVE_Pin, GPIO_PIN_SET);
      osDelay(PURGE_TIME);
      HAL_GPIO_WritePin(PURGE_VLVE_GPIO_Port, PURGE_VLVE_Pin, GPIO_PIN_RESET);
    }
  }
}

void HAL_TIM_PeriodElapsedCallback(TIM_HandleTypeDef *htim) {
  if (htim->Instance == TIM1) {
    HAL_IncTick();
  }
}

void Error_Handler(void) {
  /* USER CODE BEGIN Error_Handler_Debug */
  /* User can add his own implementation to report the HAL error return state
   */
  __disable_irq();
  while (1) {
    printf("Error Handler Triggered\r\n");
  }
  /* USER CODE END Error_Handler_Debug */
}

#ifdef USE_FULL_ASSERT
/**
 * @brief  Reports the name of the source file and the source line number
 *         where the assert_param error has occurred.
 * @param  file: pointer to the source file name
 * @param  line: assert_param error line source number
 * @retval None
 */
void assert_failed(uint8_t *file, uint32_t line) {
  /* USER CODE BEGIN 6 */
  /* User can add his own implementation to report the file name and line
     number, ex: printf("Wrong parameters value: file %s on line %d\r\n",
     file, line) */
  /* USER CODE END 6 */
}
#endif /* USE_FULL_ASSERT */
